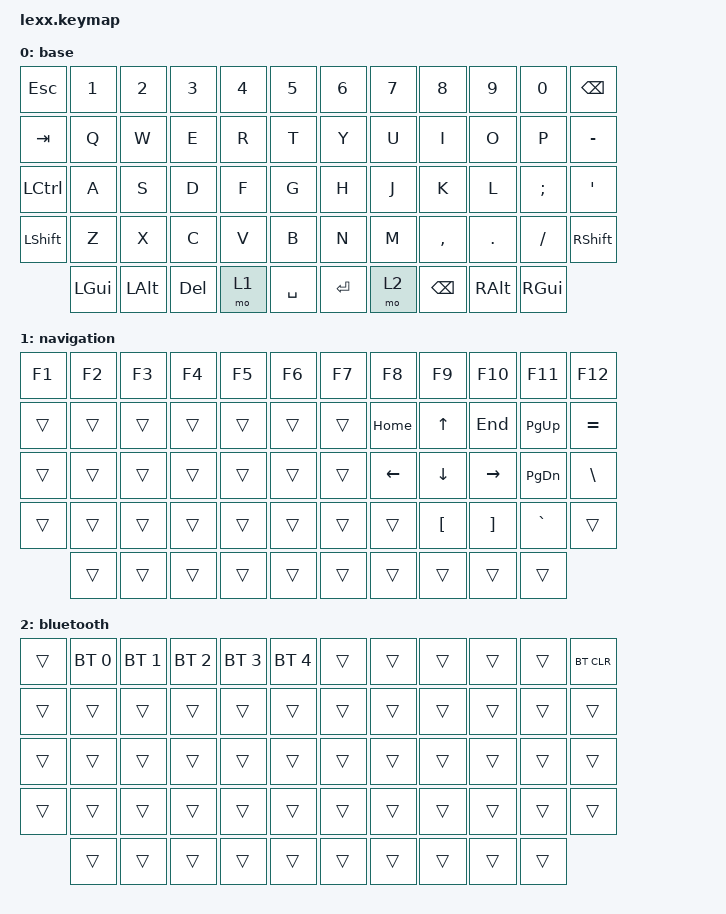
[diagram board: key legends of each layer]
#include <behaviors.dtsi>
#include <dt-bindings/zmk/keys.h>
#include <dt-bindings/zmk/bt.h>

/ {
    keymap {
        compatible = "zmk,keymap";
        base {
            bindings = <
                &kp ESC    &kp N1    &kp N2 &kp N3  &kp N4 &kp N5    &kp N6   &kp N7 &kp N8    &kp N9  &kp N0    &kp BSPC
                &kp TAB    &kp Q     &kp W  &kp E   &kp R  &kp T     &kp Y    &kp U  &kp I     &kp O   &kp P     &kp MINUS
                &kp LCTRL  &kp A     &kp S  &kp D   &kp F  &kp G     &kp H    &kp J  &kp K     &kp L   &kp SEMI  &kp SQT
                &kp LSHIFT &kp Z     &kp X  &kp C   &kp V  &kp B     &kp N    &kp M  &kp COMMA &kp DOT &kp SLASH &kp RSHIFT
                           &kp LGUI  &kp LALT &kp DEL &mo 1 &kp SPACE &kp RET &mo 2 &kp BSPC &kp RALT &kp RGUI
            >;
        };
        navigation {
            bindings = <
                &kp F1    &kp F2 &kp F3 &kp F4 &kp F5 &kp F6    &kp F7 &kp F8   &kp F9   &kp F10   &kp F11  &kp F12
                &trans    &trans &trans &trans &trans &trans    &trans &kp HOME &kp UP   &kp END   &kp PG_UP &kp EQUAL
                &trans    &trans &trans &trans &trans &trans    &trans &kp LEFT &kp DOWN &kp RIGHT &kp PG_DN &kp BSLH
                &trans    &trans &trans &trans &trans &trans    &trans &trans   &kp LBKT &kp RBKT  &kp GRAVE &trans
                          &trans &trans &trans &trans &trans    &trans &trans   &trans   &trans    &trans
            >;
        };
        bluetooth {
            bindings = <
                &trans    &bt BT_SEL 0 &bt BT_SEL 1 &bt BT_SEL 2 &bt BT_SEL 3 &bt BT_SEL 4   &trans &trans &trans &trans &trans &bt BT_CLR
                &trans    &trans       &trans       &trans       &trans       &trans         &trans &trans &trans &trans &trans &trans
                &trans    &trans       &trans       &trans       &trans       &trans         &trans &trans &trans &trans &trans &trans
                &trans    &trans       &trans       &trans       &trans       &trans         &trans &trans &trans &trans &trans &trans
                          &trans       &trans       &trans       &trans       &trans         &trans &trans &trans &trans &trans
            >;
        };
    };
};
